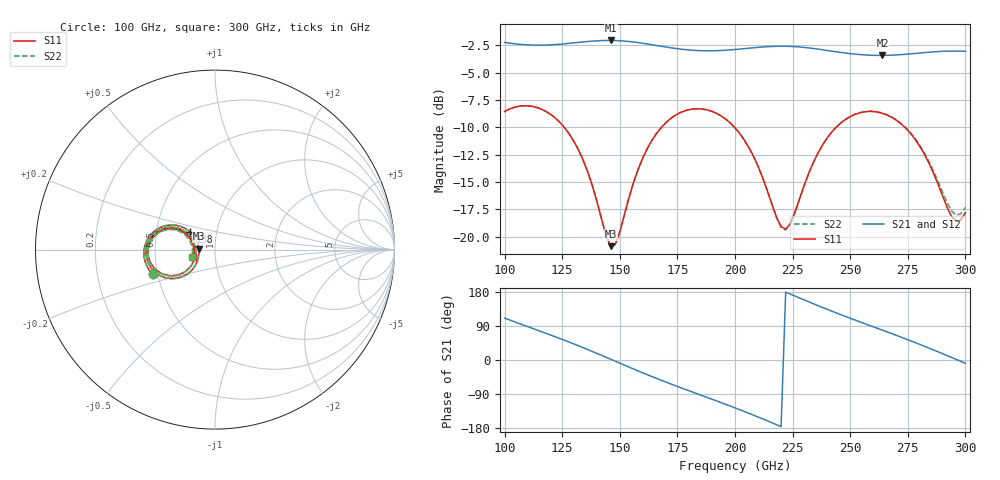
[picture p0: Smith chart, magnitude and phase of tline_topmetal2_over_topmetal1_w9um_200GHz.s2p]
#  GHZ S DB R 50
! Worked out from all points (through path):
!   101 points, 100 GHz to 300 GHz, reference 50 ohm
!   highest |S21| = -2.06 dB at 146 GHz (marker M1); lowest = -3.4 dB at 264 GHz (marker M2)
!   group delay of S21, straight-line fit = 6.67 ps
!   lowest |S11| = -20.9 dB at 146 GHz (marker M3), VSWR 1.20, Z = 41.7 + j0.498 ohm
!   |S11| at or under -10 dB: 125.9 GHz to 168.1 GHz (42.18 GHz wide, 28.7 % of centre); 199.8 GHz to 243.9 GHz (44.08 GHz wide, 19.9 % of centre); 273.7 GHz to end of sweep
!   |S22| runs from -20.8 to -8.0 dB; largest |S21 - S12| = 8.4e-14
!   S11 on the Smith chart (normalised r, x): 100 GHz: 0.47, -0.15; 138 GHz: 0.74, +0.15; 300 GHz: 0.78, -0.07
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100  -8.55 -158.5  -2.24 110.6  -2.24 110.6  -8.55 -158.6
108  -8.03 -173.2  -2.44 92.6  -2.44 92.6  -8.03 -173.3
118  -8.55 168.9  -2.48 70.3  -2.48 70.3  -8.55 168.9
134  -12.95 145.6  -2.19 32.7  -2.19 32.7  -12.95 145.6
138  -15.28 144.6  -2.12 22.7  -2.12 22.7  -15.27 144.6
146  -20.87 176.3  -2.06 2.1  -2.06 2.1  -20.84 176.2
148  -20.74 -166.6  -2.07 -3.1  -2.07 -3.1  -20.72 -166.6
156  -15.02 -138.3  -2.20 -23.8  -2.20 -23.8  -15.02 -138.4
168  -10.02 -150.1  -2.59 -53.5  -2.59 -53.5  -10.02 -150.1
184  -8.30 -176.5  -2.98 -90.1  -2.98 -90.1  -8.30 -176.5
200  -10.04 158.3  -2.89 -126.3  -2.89 -126.3  -10.05 158.3
212  -14.60 149.1  -2.65 -155.4  -2.65 -155.4  -14.62 149.0
218  -18.20 162.0  -2.59 -170.6  -2.59 -170.6  -18.26 161.9
222  -19.31 -174.9  -2.59 179.1  -2.59 179.1  -19.38 -174.7
234  -13.22 -144.0  -2.79 148.5  -2.79 148.5  -13.23 -143.6
248  -9.27 -160.2  -3.21 114.8  -3.21 114.8  -9.26 -159.8
264  -8.72 174.9  -3.42 78.7  -3.42 78.7  -8.69 175.6
268  -9.08 168.9  -3.40 69.7  -3.40 69.7  -9.05 169.6
278  -11.05 155.7  -3.25 46.4  -3.25 46.4  -10.97 156.8
286  -14.12 151.4  -3.10 27.0  -3.10 27.0  -13.93 153.0
294  -18.15 169.2  -3.03 6.8  -3.03 6.8  -17.63 170.1
300  -17.81 -160.2  -3.05 -8.6  -3.05 -8.6  -17.33 -161.9
